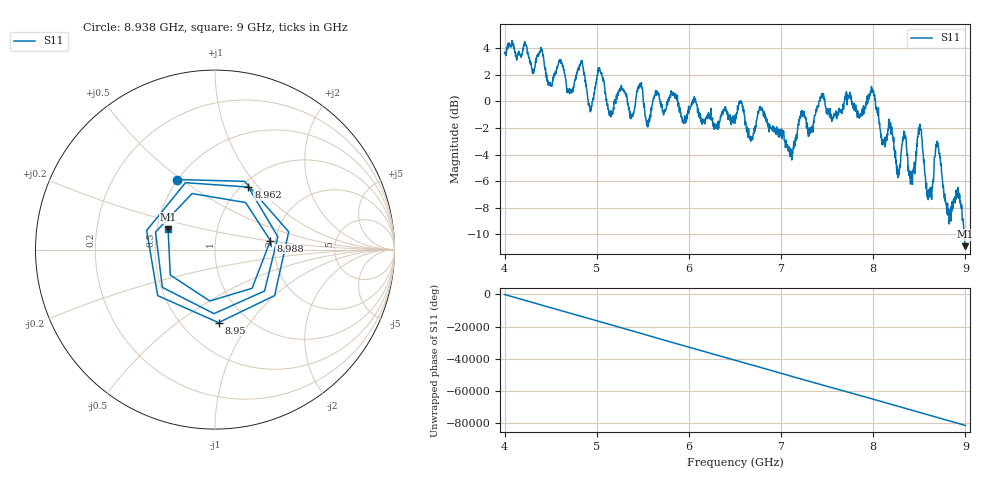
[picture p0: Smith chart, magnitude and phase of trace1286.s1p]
! Created with skrf 1.8.0 (http://scikit-rf.org).
# Hz S RI R 50.0
!freq ReS11 ImS11
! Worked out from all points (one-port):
!   1601 points, 4 GHz to 9 GHz, reference 50 ohm
!   lowest |S11| = -10.9 dB at 9 GHz (marker M1), VSWR 1.80, Z = 28.6 + j7.09 ohm
!   |S11| at or under -10 dB: 8.983554 GHz to end of sweep
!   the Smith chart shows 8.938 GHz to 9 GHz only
!   S11 on the Smith chart (normalised r, x): 8.938 GHz: 0.49, +0.48; 8.95 GHz: 0.74, -0.72; 8.962 GHz: 1.08, +0.89; 8.988 GHz: 1.88, +0.21; 9 GHz: 0.57, +0.14
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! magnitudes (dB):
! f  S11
! 4 GHz  3.7
! 4.625 GHz  2.8
! 4.709 GHz  0.7
! 4.838 GHz  3.1
! 4.931 GHz  -0.8
! 5.028 GHz  2.5
! 5.147 GHz  -0.8
! 5.25 GHz  0.9
! 5.381 GHz  -1.0
! 5.472 GHz  1.1
! 5.553 GHz  -1.4
! 5.875 GHz  0.5
! 6.5 GHz  -1.6
! 7.125 GHz  -3.9
! 7.225 GHz  -0.9
! 7.75 GHz  0.4
! 7.994 GHz  0.9
! 8.106 GHz  -3.0
! 8.375 GHz  -4.4
! 8.506 GHz  -1.7
! 8.594 GHz  -7.1
! 8.697 GHz  -3.4
! 8.816 GHz  -8.1
! 8.938 GHz  -7.0
! 8.95 GHz  -7.8
! 8.962 GHz  -8.1
! 8.988 GHz  -10.1
! 9 GHz  -10.9
